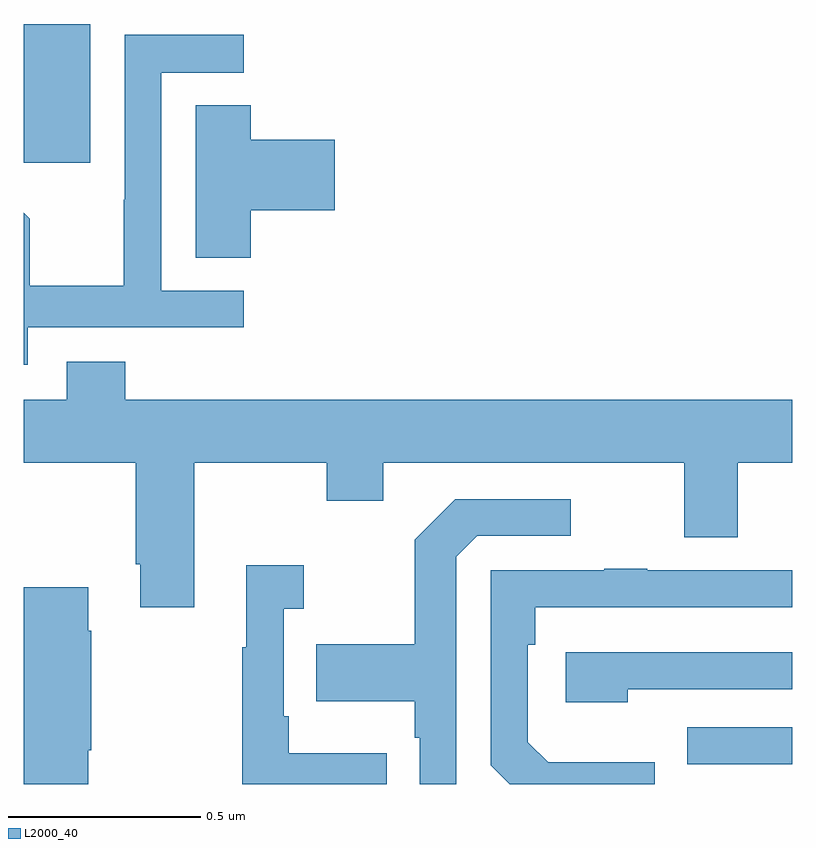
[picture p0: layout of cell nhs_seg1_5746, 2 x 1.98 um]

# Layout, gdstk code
import gdstk
lib = gdstk.Library(unit=1e-6, precision=1e-09)
def R(c, l, rs):  # rectangles x0, y0, x1, y1
    for r in rs: c.add(gdstk.rectangle(r[:2], r[2:], *l))
def P(c, l, *ps):  # polygons
    for p in ps: c.add(gdstk.Polygon(p, *l))
L2000_40 = (2000, 40)

nhs_seg1_5746 = lib.new_cell('nhs_seg1_5746')
R(nhs_seg1_5746, L2000_40, [(183.727,580.251,184,580.347), (182,581.817,182.173,582.178)])
P(nhs_seg1_5746, L2000_40, [(182.01,581.388),(182.572,581.388),(182.572,581.484),(182.358,581.484),(182.358,582.051),(182.572,582.051),(182.572,582.15),(182.262,582.15),(182.262,581.72),(182.26,581.72),(182.26,581.497),(182.015,581.497),(182.015,581.671),(182,581.686),(182,581.291),(182.01,581.291)],
  [(182.591,581.693),(182.809,581.693),(182.809,581.876),(182.591,581.876),(182.591,581.966),(182.447,581.966),(182.447,581.569),(182.591,581.569)],
  [(182.443,581.036),(182.788,581.036),(182.788,580.937),(182.935,580.937),(182.935,581.036),(183.719,581.036),(183.719,580.842),(183.859,580.842),(183.859,581.036),(184,581.036),(184,581.2),(182.264,581.2),(182.264,581.299),(182.111,581.299),(182.111,581.2),(182,581.2),(182,581.036),(182.291,581.036),(182.291,580.771),(182.303,580.771),(182.303,580.659),(182.443,580.659)],
  [(183.126,580.791),(183.18,580.845),(183.424,580.845),(183.424,580.941),(183.123,580.941),(183.018,580.835),(183.018,580.563),(182.761,580.563),(182.761,580.415),(183.018,580.415),(183.018,580.319),(183.03,580.319),(183.03,580.199),(183.126,580.199)],
  [(182.945,580.279),(182.689,580.279),(182.689,580.375),(182.676,580.375),(182.676,580.655),(182.728,580.655),(182.728,580.768),(182.579,580.768),(182.579,580.555),(182.568,580.555),(182.568,580.199),(182.945,580.199)],
  [(183.642,580.255),(183.365,580.255),(183.312,580.308),(183.312,580.562),(183.332,580.562),(183.332,580.659),(184,580.659),(184,580.755),(183.623,580.755),(183.623,580.76),(183.511,580.76),(183.511,580.755),(183.216,580.755),(183.216,580.248),(183.265,580.199),(183.642,580.199)],
  [(182.167,580.287),(182.175,580.287),(182.175,580.598),(182.167,580.598),(182.167,580.711),(182,580.711),(182,580.199),(182.167,580.199)],
  [(183.572,580.446),(184,580.446),(184,580.542),(183.411,580.542),(183.411,580.412),(183.572,580.412)])

lib.write_gds('nhs_seg1_5746.gds')
